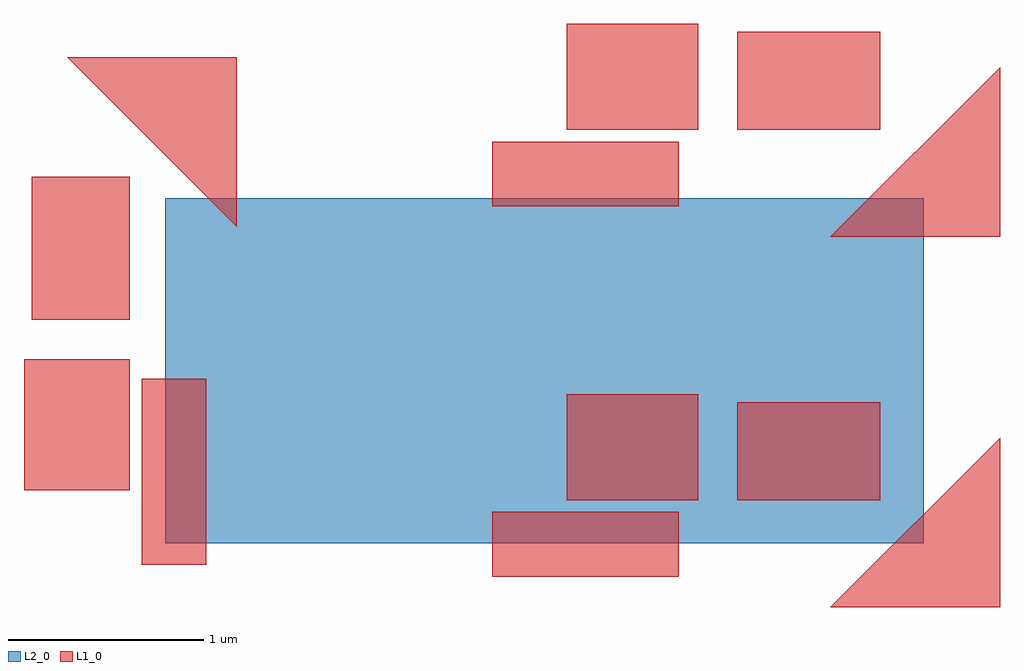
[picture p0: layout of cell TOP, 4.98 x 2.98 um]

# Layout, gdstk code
from math import pi, radians
import gdstk
lib = gdstk.Library(unit=1e-6, precision=1e-09)
def R(c, l, rs):  # rectangles x0, y0, x1, y1
    for r in rs: c.add(gdstk.rectangle(r[:2], r[2:], *l))
def P(c, l, *ps):  # polygons
    for p in ps: c.add(gdstk.Polygon(p, *l))
L1_0 = (1, 0)
L2_0 = (2, 0)

c_c = lib.new_cell('C')
R(c_c, L1_0, [(-1.54,0.4,-0.59,0.73), (-1.16,0.79,-0.49,1.33), (-0.29,0.79,0.44,1.29)])
P(c_c, L1_0, [(0.185,0.245),(1.05,1.11),(1.05,0.245)])

top = lib.new_cell('TOP')
R(top, L2_0, [(-3.14,0.75,0.73,2.51)])
top.add(gdstk.Reference(c_c, (0.07,0.18)))
top.add(gdstk.Reference(c_c, (-2.53,2.18), rotation=pi/2))
top.add(gdstk.Reference(c_c, (0.07,2.07)))

lib.write_gds('TOP.gds')
